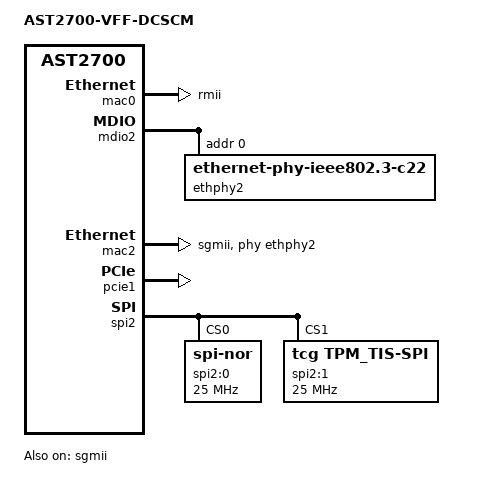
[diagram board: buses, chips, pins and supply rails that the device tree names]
// SPDX-License-Identifier: GPL-2.0-or-later
// Copyright 2025 ASPEED Corp.

#include "ast2700-evb.dts"

/ {
	model = "AST2700-VFF-DCSCM";

	/* Disable components from ast2700-evb */
	/delete-node/ fan0;
	/delete-node/ fan1;
	/delete-node/ fan2;
	/delete-node/ fan3;
	/delete-node/ fan4;
	/delete-node/ fan5;
	/delete-node/ fan6;
	/delete-node/ fan7;
	/delete-node/ fan8;
	/delete-node/ iio-hwmon;
};

/* Disable components from ast2700-evb */
&pwm_tach {
	status = "disabled";
};

&mdio0 {
	status = "disabled";
};

&mdio1 {
	status = "disabled";
};

&i3c0 {
	status = "disabled";
};

&i3c1 {
	status = "disabled";
};

&i3c2 {
	status = "disabled";
};

&i3c3 {
	status = "disabled";
};

&i3c6 {
	status = "disabled";
};

&i3c7 {
	status = "disabled";
};

&i3c8 {
	status = "disabled";
};

&i3c9 {
	status = "disabled";
};

&i3c10 {
	status = "disabled";
};

&i3c11 {
	status = "disabled";
};

&i3c12 {
	status = "disabled";
};

&i3c13 {
	status = "disabled";
};

&i3c14 {
	status = "disabled";
};

&i3c15 {
	status = "disabled";
};

/* AST2700 VFF DCSCM use MAC0 and MAC1 for NCSI */
&sgpios {
	status = "disabled";
};

&mac0 {
	status = "okay";

	phy-mode = "rmii";
	use-ncsi;

	pinctrl-names = "default";
	/* If you want to use RMII0 RCLKO as internal clock for RMII,
	 * add &pinctrl_rmii0_rclko_default in pinctrl-0.
	 */
	pinctrl-0 = <&pinctrl_rmii0_default>;
};

&mac1 {
	status = "disabled";
};

&syscon1 {
	mac0-clk-delay = <0 0
			  0 0
			  0 0>;
	mac1-clk-delay = <0 0
			  0 0
			  0 0>;
	assigned-clocks = <&syscon1 SCU1_CLK_MACHCLK>,
			  <&syscon1 SCU1_CLK_RGMII>,
			  <&syscon1 SCU1_CLK_RMII>;
	assigned-clock-rates = <200000000>, <125000000>, <50000000>;
};

/* AST2700 VFF DCSCM use MAC2 SGMII */
&pcie2 {
	status = "disabled";
};

&mdio2 {
	status = "okay";
	#address-cells = <1>;
	#size-cells = <0>;
	ethphy2: ethernet-phy@0 {
		compatible = "ethernet-phy-ieee802.3-c22";
		reg = <0>;
	};
};

&sgmii {
	status = "okay";
};

&mac2 {
	status = "okay";
	phy-mode = "sgmii";
	phy-handle = <&ethphy2>;
};

/* Disable Node 1 EP function */
&bmc_dev1 {
	status = "disabled";
};

&xdma1 {
	status = "disabled";
};

&pcie_vuart2 {
	status = "disabled";
};

&pcie_vuart3 {
	status = "disabled";
};

&pcie_lpc1_kcs0 {
	status = "disabled";
};

&pcie_lpc1_kcs1 {
	status = "disabled";
};

&pcie_lpc1_kcs2 {
	status = "disabled";
};

&pcie_lpc1_kcs3 {
	status = "disabled";
};

&pcie_lpc1_ibt {
	status = "disabled";
};

&pcie1_mmbi4 {
	status = "disabled";
};

&pcie1 {
	status = "okay";
	perst-rc-out-gpio = <&gpio1 ASPEED_GPIO(T, 7) GPIO_ACTIVE_HIGH>;
};

&tpm0 {
	status = "disabled";
};

&spi2 {
	compatible = "aspeed,ast2700-spi-txrx";
	pinctrl-0 = <&pinctrl_spi2_default &pinctrl_spi2_cs1_default>;
	pinctrl-names = "default";
	status = "okay";

	flash@0 {
		status = "okay";
		reg = < 0 >;
		compatible = "jedec,spi-nor";
		m25p,fast-read;
		label = "spi2:0";
		spi-max-frequency = <25000000>;
	};

	tpm1: tpmdev@1 {
		status = "okay";
		reg = <1>;
		compatible = "tcg,tpm_tis-spi";
		label = "spi2:1";
		spi-max-frequency = <25000000>;
	};
};
